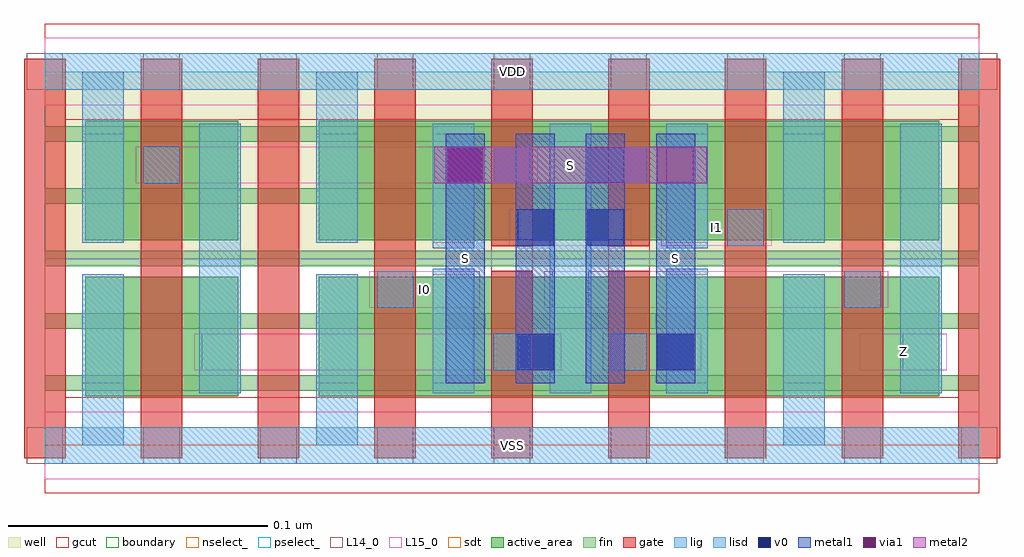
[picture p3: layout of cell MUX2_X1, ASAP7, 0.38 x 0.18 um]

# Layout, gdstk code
import gdstk
lib = gdstk.Library(unit=1e-6, precision=2.5e-10)
def R(c, l, rs):  # rectangles x0, y0, x1, y1
    for r in rs: c.add(gdstk.rectangle(r[:2], r[2:], *l))
def A(c, l, x, y, w, h, nx, ny, dx, dy):  # array of equal rectangles
    R(c, l, [(x+i*dx, y+j*dy, x+i*dx+w, y+j*dy+h) for i in range(nx) for j in range(ny)])
well = (1, 0)
fin = (2, 0)
gate = (7, 0)
gcut = (10, 0)
active_area = (11, 0)
nselect_ = (12, 0)
pselect_ = (13, 0)
L14_0 = (14, 0)
L15_0 = (15, 0)
lig = (16, 0)
lisd = (17, 0)
v0 = (18, 0)
metal1 = (19, 0)
metal2 = (20, 0)
via1 = (21, 0)
sdt = (88, 0)
boundary = (100, 0)

mux2_x1 = lib.new_cell('MUX2_X1')
R(mux2_x1, well, [(0,0.072,0.36,0.144)])
A(mux2_x1, fin, 0, 0.021, 0.36, 0.006, 1, 5, 0, 0.024)
A(mux2_x1, gate, -0.008, -0.005, 0.016, 0.154, 4, 1, 0.045, 0)
A(mux2_x1, gate, 0.262, -0.005, 0.016, 0.154, 3, 1, 0.045, 0)
R(mux2_x1, gate, [(0.172,-0.005,0.188,0.067), (0.217,-0.005,0.233,0.067), (0.172,0.077,0.188,0.149), (0.217,0.077,0.233,0.149)])
R(mux2_x1, gcut, [(0,-0.0185,0.36,0.0185), (-0.008,-0.005,0.008,0.149), (0.352,-0.005,0.368,0.149), (0.172,0.067,0.188,0.077), (0.217,0.067,0.233,0.077), (0,0.1255,0.36,0.1625)])
A(mux2_x1, active_area, 0.1055, 0.019, 0.059, 0.046, 5, 2, 0.045, 0.06)
R(mux2_x1, active_area, [(0.0155,0.019,0.0745,0.065), (0.0155,0.079,0.0745,0.125)])
R(mux2_x1, nselect_, [(0,0,0.36,0.072)])
R(mux2_x1, pselect_, [(0,0.072,0.36,0.144)])
A(mux2_x1, L14_0, -0.007, -0.007, 0.014, 0.014, 9, 2, 0.045, 0.144)
R(mux2_x1, L14_0, [(0.0605,0.029,0.0745,0.043), (0.173,0.029,0.187,0.043), (0.218,0.029,0.232,0.043), (0.3305,0.029,0.3445,0.043), (0.128,0.053,0.142,0.067), (0.1955,0.053,0.2095,0.067), (0.308,0.053,0.322,0.067), (0.263,0.077,0.277,0.091), (0.038,0.101,0.052,0.115), (0.173,0.101,0.187,0.115), (0.218,0.101,0.232,0.115)])
R(mux2_x1, L15_0, [(0,-0.013,0.36,0.013), (0.0575,0.029,0.199,0.043), (0.215,0.029,0.253,0.043), (0.314,0.029,0.3475,0.043), (0.125,0.053,0.1675,0.067), (0.1925,0.053,0.325,0.067), (0.179,0.077,0.226,0.091), (0.2375,0.077,0.28,0.091), (0.035,0.101,0.19,0.115), (0.206,0.101,0.253,0.115), (0,0.131,0.36,0.157)])
R(mux2_x1, lig, [(0,-0.007,0.36,0.007), (0.173,0.029,0.187,0.043), (0.218,0.029,0.232,0.043), (0.128,0.053,0.142,0.067), (0.308,0.053,0.322,0.067), (0.263,0.077,0.277,0.091), (0.038,0.101,0.052,0.115), (0.173,0.101,0.187,0.115), (0.218,0.101,0.232,0.115), (0,0.137,0.36,0.151)])
R(mux2_x1, lisd, [(0.0145,0,0.0305,0.066), (0.1045,0,0.1205,0.066), (0.2845,0,0.3005,0.066), (0.2845,0,0.3005,0.066), (0.0595,0.02,0.0755,0.124), (0.1495,0.02,0.1655,0.068), (0.1495,0.02,0.1655,0.068), (0.1945,0.02,0.2105,0.124), (0.1945,0.02,0.2105,0.124), (0.2395,0.02,0.2555,0.068), (0.2395,0.02,0.2555,0.068), (0.3295,0.02,0.3455,0.124), (0.1495,0.076,0.1655,0.124), (0.1495,0.076,0.1655,0.124), (0.2395,0.076,0.2555,0.124), (0.2395,0.076,0.2555,0.124), (0.0145,0.078,0.0305,0.144), (0.1045,0.078,0.1205,0.144), (0.2845,0.078,0.3005,0.144), (0.2845,0.078,0.3005,0.144)])
R(mux2_x1, v0, [(0.182,0.029,0.196,0.043), (0.236,0.029,0.25,0.043), (0.182,0.077,0.196,0.091), (0.209,0.077,0.223,0.091), (0.155,0.101,0.169,0.115), (0.209,0.101,0.223,0.115)])
A(mux2_x1, metal1, 0.1545, 0.024, 0.015, 0.096, 4, 1, 0.027, 0)
R(mux2_x1, metal2, [(0.15,0.101,0.255,0.115)])
R(mux2_x1, via1, [(0.155,0.101,0.169,0.115), (0.236,0.101,0.25,0.115)])
R(mux2_x1, sdt, [(0.0595,0.02,0.0755,0.124), (0.1945,0.02,0.2105,0.124), (0.1945,0.02,0.2105,0.124), (0.3295,0.02,0.3455,0.124), (0.0145,0.024,0.0305,0.066), (0.1045,0.024,0.1205,0.066), (0.1495,0.024,0.1655,0.066), (0.1495,0.024,0.1655,0.066), (0.2395,0.024,0.2555,0.066), (0.2395,0.024,0.2555,0.066), (0.2845,0.024,0.3005,0.066), (0.2845,0.024,0.3005,0.066), (0.0145,0.078,0.0305,0.12), (0.1045,0.078,0.1205,0.12), (0.1495,0.078,0.1655,0.12), (0.1495,0.078,0.1655,0.12), (0.2395,0.078,0.2555,0.12), (0.2395,0.078,0.2555,0.12), (0.2845,0.078,0.3005,0.12), (0.2845,0.078,0.3005,0.12)])
R(mux2_x1, boundary, [(0,0,0.36,0.144)])
mux2_x1.add(gdstk.Label('VDD', (0.18,0.144), layer=1, texttype=251))
mux2_x1.add(gdstk.Label('VSS', (0.18,0), layer=3, texttype=251))
mux2_x1.add(gdstk.Label('I0', (0.1462,0.06), layer=15, texttype=251))
mux2_x1.add(gdstk.Label('I1', (0.2587,0.084), layer=15, texttype=251))
mux2_x1.add(gdstk.Label('Z', (0.3307,0.036), layer=15, texttype=251))
mux2_x1.add(gdstk.Label('VSS', (0.18,0), layer=15, texttype=251))
mux2_x1.add(gdstk.Label('VDD', (0.18,0.144), layer=15, texttype=251))
mux2_x1.add(gdstk.Label('S', (0.162,0.072), layer=19, texttype=251))
mux2_x1.add(gdstk.Label('S', (0.243,0.072), layer=19, texttype=251))
mux2_x1.add(gdstk.Label('S', (0.2025,0.108), layer=20, texttype=251))

lib.write_gds('MUX2_X1.gds')
